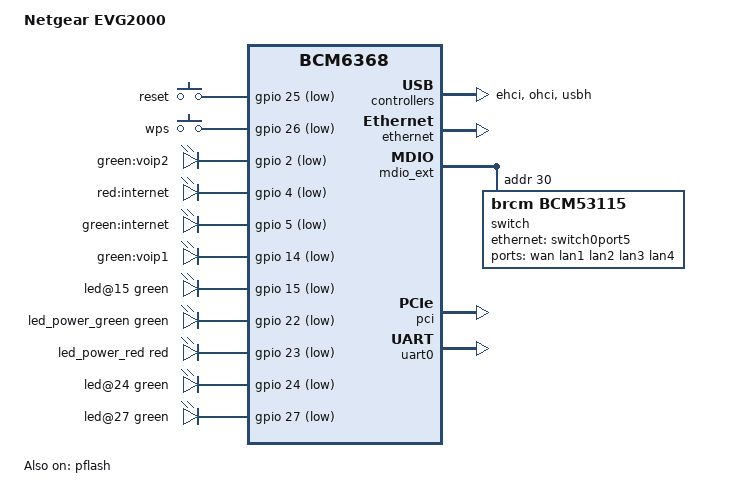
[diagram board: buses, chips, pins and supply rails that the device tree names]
// SPDX-License-Identifier: GPL-2.0-or-later

#include "bcm6368.dtsi"

/ {
	model = "Netgear EVG2000";
	compatible = "netgear,evg2000", "brcm,bcm6369", "brcm,bcm6368";

	aliases {
		led-boot = &led_power_green;
		led-failsafe = &led_power_red;
		led-running = &led_power_green;
		led-upgrade = &led_power_green;
	};

	keys {
		compatible = "gpio-keys-polled";
		poll-interval = <100>;

		reset {
			label = "reset";
			gpios = <&gpio 25 GPIO_ACTIVE_LOW>;
			linux,code = <KEY_RESTART>;
			debounce-interval = <60>;
		};

		wps {
			label = "wps";
			gpios = <&gpio 26 GPIO_ACTIVE_LOW>;
			linux,code = <KEY_WPS_BUTTON>;
			debounce-interval = <60>;
		};
	};

	leds {
		compatible = "gpio-leds";

		led@2 {
			label = "green:voip2";
			gpios = <&gpio 2 GPIO_ACTIVE_LOW>;
		};

		led@4 {
			label = "red:internet";
			gpios = <&gpio 4 GPIO_ACTIVE_LOW>;
		};

		led@5 {
			label = "green:internet";
			gpios = <&gpio 5 GPIO_ACTIVE_LOW>;
		};

		led@14 {
			label = "green:voip1";
			gpios = <&gpio 14 GPIO_ACTIVE_LOW>;
		};

		led@15 {
			function = LED_FUNCTION_USB;
			color = <LED_COLOR_ID_GREEN>;
			gpios = <&gpio 15 GPIO_ACTIVE_LOW>;
		};

		led_power_green: led@22 {
			function = LED_FUNCTION_POWER;
			color = <LED_COLOR_ID_GREEN>;
			gpios = <&gpio 22 GPIO_ACTIVE_LOW>;
		};

		led_power_red: led@23 {
			function = LED_FUNCTION_POWER;
			color = <LED_COLOR_ID_RED>;
			gpios = <&gpio 23 GPIO_ACTIVE_LOW>;
			panic-indicator;
		};

		led@24 {
			function = LED_FUNCTION_LAN;
			color = <LED_COLOR_ID_GREEN>;
			gpios = <&gpio 24 GPIO_ACTIVE_LOW>;
		};

		led@27 {
			function = LED_FUNCTION_WAN;
			color = <LED_COLOR_ID_GREEN>;
			gpios = <&gpio 27 GPIO_ACTIVE_LOW>;
		};
	};

	bcm4322-sprom {
		compatible = "brcm,ssb-sprom";

		pci-bus = <0>;
		pci-dev = <1>;

		nvmem-cells = <&macaddr_cfe_6a0 1>;
		nvmem-cell-names = "mac-address";

		brcm,sprom = "brcm/bcm4322-sprom.bin";
		brcm,sprom-fixups = <219 0xec08>;
	};
};

&ehci {
	status = "okay";
};

&ethernet {
	status = "okay";

	nvmem-cells = <&macaddr_cfe_6a0 0>;
	nvmem-cell-names = "mac-address";
};

&mdio_ext {
	switch@1e {
		compatible = "brcm,bcm53115";
		reg = <30>;

		dsa,member = <1 0>;

		ports {
			#address-cells = <1>;
			#size-cells = <0>;

			port@0 {
				reg = <0>;
				label = "wan";
			};

			port@1 {
				reg = <1>;
				label = "lan1";
			};

			port@2 {
				reg = <2>;
				label = "lan2";
			};

			port@3 {
				reg = <3>;
				label = "lan3";
			};

			port@4 {
				reg = <4>;
				label = "lan4";
			};

			port@8 {
				reg = <8>;

				phy-mode = "rgmii";
				ethernet = <&switch0port5>;

				fixed-link {
					speed = <1000>;
					full-duplex;
				};
			};
		};
	};
};

&switch0 {
	dsa,member = <0 0>;

	ports {
		switch0port5: port@5 {
			reg = <5>;
			label = "extsw";

			phy-mode = "rgmii";

			fixed-link {
				speed = <1000>;
				full-duplex;
			};
		};
	};
};

&pflash {
	status = "okay";

	partitions {
		compatible = "fixed-partitions";
		#address-cells = <1>;
		#size-cells = <1>;

		partition@0 {
			label = "CFE";
			reg = <0x000000 0x020000>;
			read-only;

			nvmem-layout {
				compatible = "fixed-layout";
				#address-cells = <1>;
				#size-cells = <1>;

				macaddr_cfe_6a0: macaddr@6a0 {
					compatible = "mac-base";
					reg = <0x6a0 0x6>;
					#nvmem-cell-cells = <1>;
				};
			};
		};

		partition@20000 {
			label = "firmware";
			reg = <0x020000 0xf40000>;
			compatible = "brcm,bcm963xx-imagetag";
		};

		partition@f60000 {
			label = "board_data";
			reg = <0xf60000 0x080000>;
			read-only;
		};

		partition@fe0000 {
			label = "nvram";
			reg = <0xfe0000 0x020000>;
		};
	};
};

&ohci {
	status = "okay";
};

&pci {
	status = "okay";
};

&uart0 {
	status = "okay";
};

&usbh {
	status = "okay";
};
